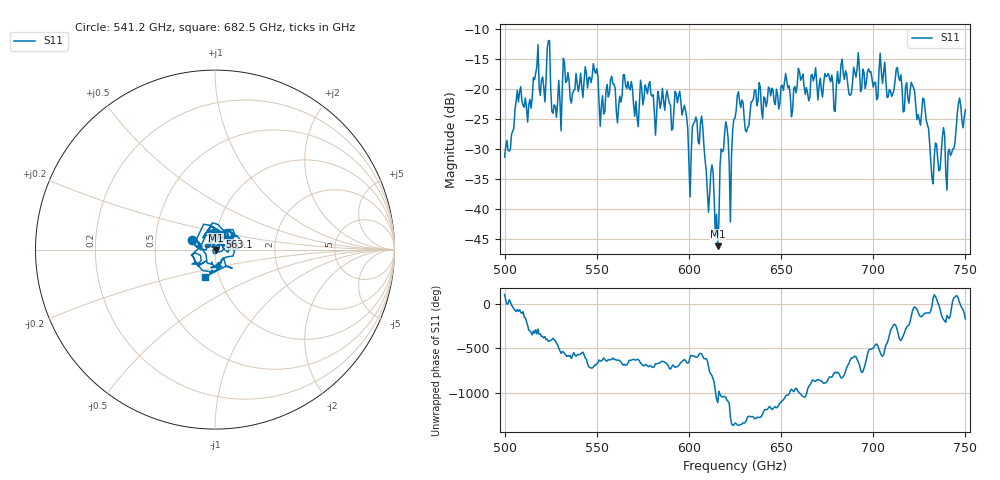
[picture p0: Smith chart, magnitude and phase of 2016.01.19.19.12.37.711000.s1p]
!Created with skrf (http://scikit-rf.org).
# GHz S RI R 50.0
!freq ReS11 ImS11
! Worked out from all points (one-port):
!   401 points, 500 GHz to 750 GHz, reference 50 ohm
!   lowest |S11| = -46.2 dB at 615.6 GHz (marker M1), VSWR 1.01, Z = 50.4 - j0.223 ohm
!   |S11| at or under -10 dB: start of sweep to end of sweep
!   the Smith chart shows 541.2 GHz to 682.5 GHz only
!   S11 on the Smith chart (normalised r, x): 541.2 GHz: 0.77, +0.08; 563.1 GHz: 1.05, +0.15; 682.5 GHz: 0.86, -0.27
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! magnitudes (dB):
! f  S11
! 500 GHz  -31.3
! 516.9 GHz  -17.3
! 520.6 GHz  -17.9
! 523.8 GHz  -11.9
! 526.9 GHz  -22.6
! 531.2 GHz  -20.3
! 541.2 GHz  -17.3
! 549.4 GHz  -17.3
! 562.5 GHz  -21.2
! 563.1 GHz  -22.1
! 593.8 GHz  -22.2
! 600.6 GHz  -38.0
! 603.1 GHz  -25.4
! 607.5 GHz  -26.3
! 610 GHz  -36.9
! 615.6 GHz  -46.2
! 618.8 GHz  -30.2
! 622.5 GHz  -42.1
! 625 GHz  -24.8
! 656.2 GHz  -23.5
! 682.5 GHz  -15.8
! 687.5 GHz  -21.0
! 718.8 GHz  -21.4
! 728.1 GHz  -23.4
! 731.9 GHz  -34.8
! 740.6 GHz  -30.4
! 746.2 GHz  -22.3
! 750 GHz  -23.4
